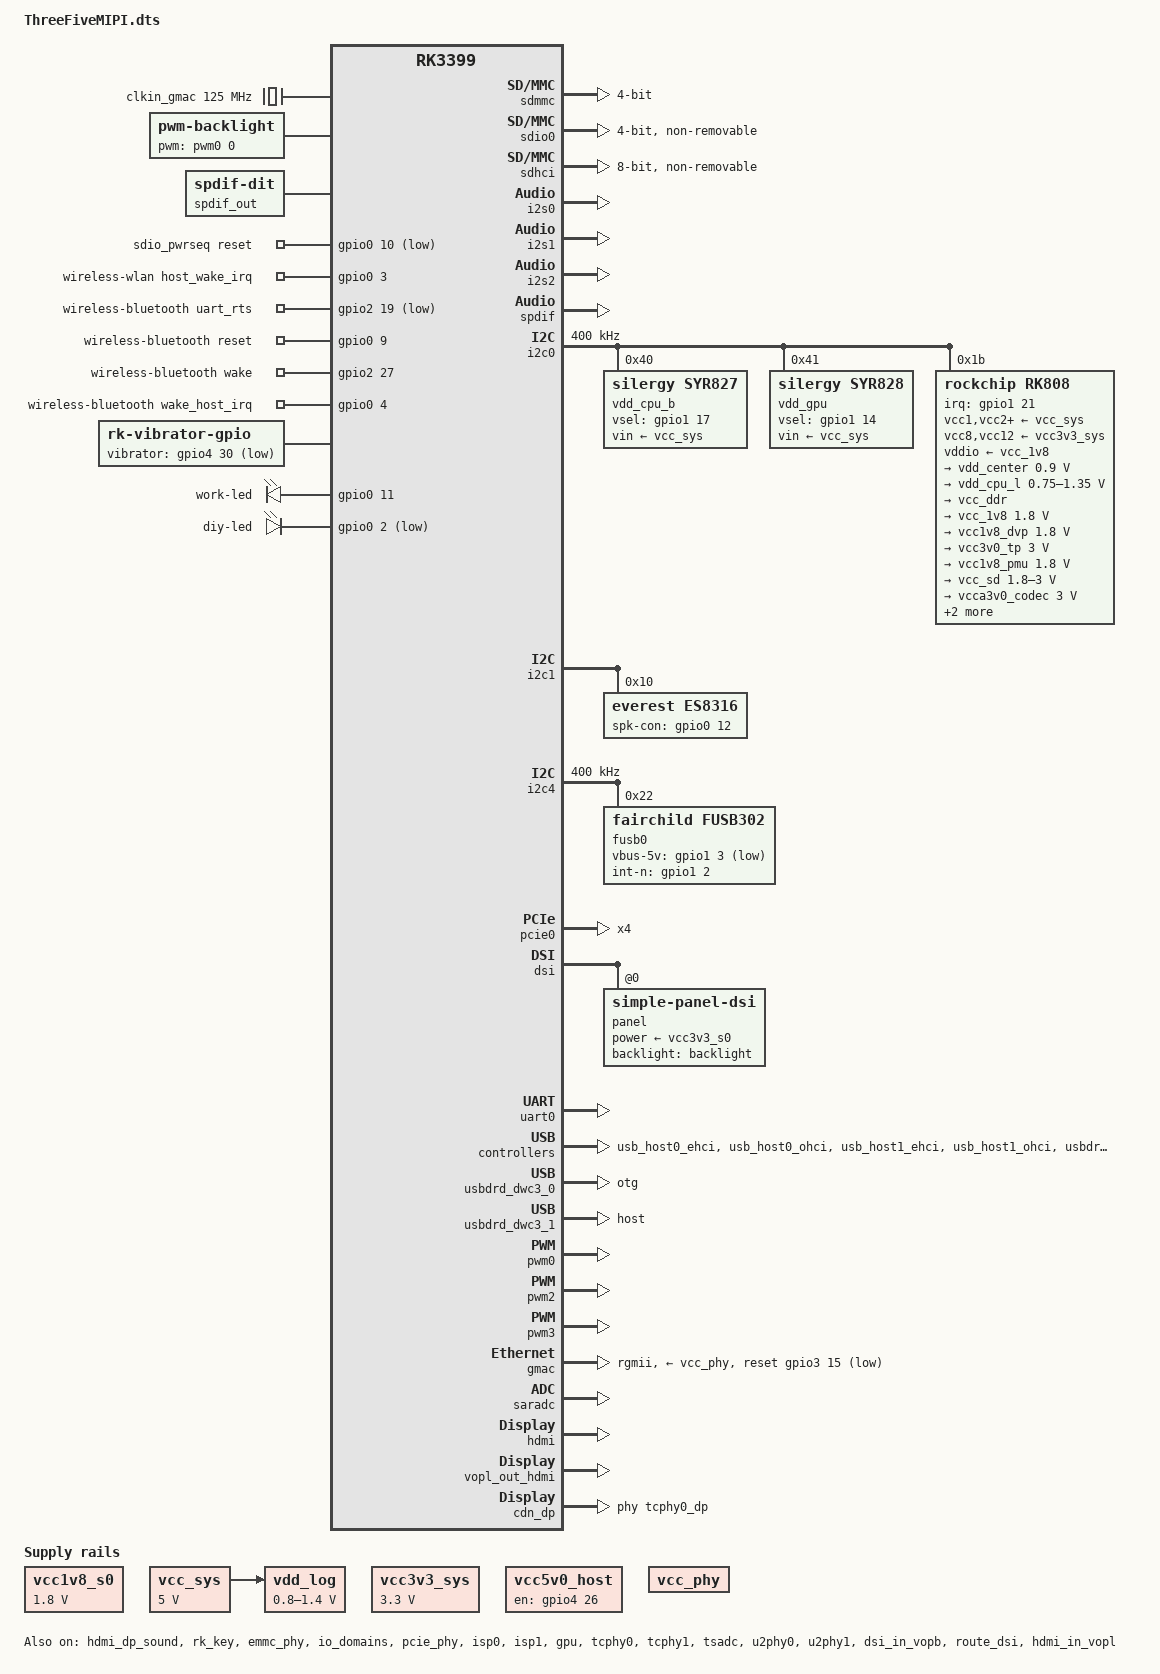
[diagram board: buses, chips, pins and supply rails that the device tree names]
/*
 * Copyright (c) 2016 Fuzhou Rockchip Electronics Co., Ltd
 *
 * This file is dual-licensed: you can use it either under the terms
 * of the GPL or the X11 license, at your option. Note that this dual
 * licensing only applies to this file, and not this project as a
 * whole.
 *
 *  a) This file is free software; you can redistribute it and/or
 *     modify it under the terms of the GNU General Public License as
 *     published by the Free Software Foundation; either version 2 of the
 *     License, or (at your option) any later version.
 *
 *     This file is distributed in the hope that it will be useful,
 *     but WITHOUT ANY WARRANTY; without even the implied warranty of
 *     MERCHANTABILITY or FITNESS FOR A PARTICULAR PURPOSE.  See the
 *     GNU General Public License for more details.
 *
 * Or, alternatively,
 *
 *  b) Permission is hereby granted, free of charge, to any person
 *     obtaining a copy of this software and associated documentation
 *     files (the "Software"), to deal in the Software without
 *     restriction, including without limitation the rights to use,
 *     copy, modify, merge, publish, distribute, sublicense, and/or
 *     sell copies of the Software, and to permit persons to whom the
 *     Software is furnished to do so, subject to the following
 *     conditions:
 *
 *     The above copyright notice and this permission notice shall be
 *     included in all copies or substantial portions of the Software.
 *
 *     THE SOFTWARE IS PROVIDED "AS IS", WITHOUT WARRANTY OF ANY KIND,
 *     EXPRESS OR IMPLIED, INCLUDING BUT NOT LIMITED TO THE WARRANTIES
 *     OF MERCHANTABILITY, FITNESS FOR A PARTICULAR PURPOSE AND
 *     NONINFRINGEMENT. IN NO EVENT SHALL THE AUTHORS OR COPYRIGHT
 *     HOLDERS BE LIABLE FOR ANY CLAIM, DAMAGES OR OTHER LIABILITY,
 *     WHETHER IN AN ACTION OF CONTRACT, TORT OR OTHERWISE, ARISING
 *     FROM, OUT OF OR IN CONNECTION WITH THE SOFTWARE OR THE USE OR
 *     OTHER DEALINGS IN THE SOFTWARE .
 */

/dts-v1/;

#include "rk3399.dtsi"
#include "rk3399-android.dtsi"
#include "rk3399-opp.dtsi"
#include <dt-bindings/sensor-dev.h>
#include <dt-bindings/pwm/pwm.h>
#include <dt-bindings/input/input.h>

/ {
	compatible = "rockchip,rk3399-mid", "rockchip,rk3399";

	vcc1v8_s0: vcc1v8-s0 {
		compatible = "regulator-fixed";
		regulator-name = "vcc1v8_s0";
		regulator-min-microvolt = <1800000>;
		regulator-max-microvolt = <1800000>;
		regulator-always-on;
	};

	hall_sensor: hall-mh248 {
		compatible = "hall-mh248";
		pinctrl-names = "default";
		//pinctrl-0 = <&mh248_irq_gpio>;
		irq-gpio = <&gpio1 2 IRQ_TYPE_EDGE_BOTH>;
		hall-active = <1>;
		status = "disabled";
	};

	vcc_sys: vcc-sys {
		compatible = "regulator-fixed";
		regulator-name = "vcc_sys";
		regulator-min-microvolt = <5000000>;
		regulator-max-microvolt = <5000000>;
		regulator-always-on;
	};

	vcc3v3_sys: vcc3v3-sys {
		compatible = "regulator-fixed";
		regulator-name = "vcc3v3_sys";
		regulator-always-on;
		regulator-boot-on;
		regulator-min-microvolt = <3300000>;
		regulator-max-microvolt = <3300000>;
	};

	vcc5v0_host: vcc5v0-host-regulator {
		compatible = "regulator-fixed";
		enable-active-high;
		gpio = <&gpio4 26 GPIO_ACTIVE_HIGH>;
		pinctrl-names = "default";
		pinctrl-0 = <&host_vbus_drv>;
		regulator-name = "vcc5v0_host";
		regulator-always-on;
	};

  	vdd_log: vdd-log {
		compatible = "pwm-regulator";
		pwms = <&pwm2 0 25000 1>;
		regulator-name = "vdd_log";
		regulator-min-microvolt = <800000>;
		regulator-max-microvolt = <1400000>;
		regulator-always-on;
		regulator-boot-on;

		/* for rockchip boot on */
		rockchip,pwm_id= <2>;
		rockchip,pwm_voltage = <900000>;

		vin-supply = <&vcc_sys>;
	};


		clkin_gmac: external-gmac-clock {
		compatible = "fixed-clock";
		clock-frequency = <125000000>;
		clock-output-names = "clkin_gmac";
		#clock-cells = <0>;
	};

	backlight: backlight {
		compatible = "pwm-backlight";
		pwms = <&pwm0 0 25000 0>;
				brightness-levels = <
			  0   1   2   3   4   5   6   7
			  8   9  10  11  12  13  14  15
			 16  17  18  19  20  21  22  23
			 24  25  26  27  28  29  30  31
			 32  33  34  35  36  37  38  39
			 40  41  42  43  44  45  46  47
			 48  49  50  51  52  53  54  55
			 56  57  58  59  60  61  62  63
			 64  65  66  67  68  69  70  71
			 72  73  74  75  76  77  78  79
			 80  81  82  83  84  85  86  87
			 88  89  90  91  92  93  94  95
			 96  97  98  99 100 101 102 103
			104 105 106 107 108 109 110 111
			112 113 114 115 116 117 118 119
			120 121 122 123 124 125 126 127
			128 129 130 131 132 133 134 135
			136 137 138 139 140 141 142 143
			144 145 146 147 148 149 150 151
			152 153 154 155 156 157 158 159
			160 161 162 163 164 165 166 167
			168 169 170 171 172 173 174 175
			176 177 178 179 180 181 182 183
			184 185 186 187 188 189 190 191
			192 193 194 195 196 197 198 199
			200 201 202 203 204 205 206 207
			208 209 210 211 212 213 214 215
			216 217 218 219 220 221 222 223
			224 225 226 227 228 229 230 231
			232 233 234 235 236 237 238 239
			240 241 242 243 244 245 246 247
			248 249 250 251 252 253 254 255>;
		default-brightness-level = <200>;
		//enable-gpios = <&gpio1 13 GPIO_ACTIVE_HIGH>;
	};

	vcc_phy: vcc-phy-regulator {
		compatible = "regulator-fixed";
		regulator-name = "vcc_phy";
		regulator-always-on;
		regulator-boot-on;
	};

es8316-sound {
	 status = "okay";
         compatible = "simple-audio-card";
         simple-audio-card,format = "i2s";
         simple-audio-card,name = "rockchip,es8316-codec";
         simple-audio-card,mclk-fs = <256>;
         simple-audio-card,widgets =
                 "Microphone", "Mic Jack",
                 "Headphone", "Headphone Jack";
         simple-audio-card,routing =
                 "Mic Jack", "MICBIAS1",
                 "IN1P", "Mic Jack",
                 "Headphone Jack", "HPOL",
                 "Headphone Jack", "HPOR";
         simple-audio-card,cpu {
                 sound-dai = <&i2s1>;
         };
         simple-audio-card,codec {
                 sound-dai = <&es8316>;
         };
 };

spdif-sound {
		status = "okay";
		compatible = "simple-audio-card";
		simple-audio-card,name = "ROCKCHIP,SPDIF";
		simple-audio-card,cpu {
			sound-dai = <&spdif>;
		};
		simple-audio-card,codec {
			sound-dai = <&spdif_out>;
		};
	};

	spdif_out: spdif-out {
		status = "okay";
		compatible = "linux,spdif-dit";
		#sound-dai-cells = <0>;
	};

	sdio_pwrseq: sdio-pwrseq {
		compatible = "mmc-pwrseq-simple";
		clocks = <&rk808 1>;
		clock-names = "ext_clock";
		pinctrl-names = "default";
		pinctrl-0 = <&wifi_enable_h>;

		/*
		 * On the module itself this is one of these (depending
		 * on the actual card populated):
		 * - SDIO_RESET_L_WL_REG_ON
		 * - PDN (power down when low)
		 */
		reset-gpios = <&gpio0 10 GPIO_ACTIVE_LOW>; /* GPIO0_B2 */
	};

	wireless-wlan {
		compatible = "wlan-platdata";
		rockchip,grf = <&grf>;
		wifi_chip_type = "ap6354";
		sdio_vref = <1800>;
		WIFI,host_wake_irq = <&gpio0 3 GPIO_ACTIVE_HIGH>; /* GPIO0_a3 */
		status = "okay";
	};

	wireless-bluetooth {
		compatible = "bluetooth-platdata";
		clocks = <&rk808 1>;
		clock-names = "ext_clock";
		//wifi-bt-power-toggle;
		uart_rts_gpios = <&gpio2 19 GPIO_ACTIVE_LOW>; /* GPIO2_C3 */
		pinctrl-names = "default", "rts_gpio";
		pinctrl-0 = <&uart0_rts>;
		pinctrl-1 = <&uart0_gpios>;
		//BT,power_gpio  = <&gpio3 19 GPIO_ACTIVE_HIGH>; /* GPIOx_xx */
		BT,reset_gpio    = <&gpio0 9 GPIO_ACTIVE_HIGH>; /* GPIO0_B1 */
		BT,wake_gpio     = <&gpio2 27 GPIO_ACTIVE_HIGH>; /* GPIO2_D2 */
		BT,wake_host_irq = <&gpio0 4 GPIO_ACTIVE_HIGH>; /* GPIO0_A4 */
		status = "okay";
	};

	uboot-charge {
		compatible = "rockchip,uboot-charge";
		rockchip,uboot-charge-on = <1>;
		rockchip,android-charge-on = <0>;
	};

	vibrator {
		compatible = "rk-vibrator-gpio";
		vibrator-gpio = <&gpio4 30 GPIO_ACTIVE_LOW>;
		status = "okay";
	};

	rk_headset {
		status = "disabled";
		compatible = "rockchip_headset";
		headset_gpio = <&gpio4 28 GPIO_ACTIVE_HIGH>;
		pinctrl-names = "default";
		//pinctrl-0 = <&hp_det>;
		io-channels = <&saradc 2>;
	};

		test-power {
		status = "okay";
	};

	leds {
		status = "okay";
		compatible = "gpio-leds";
		work-led {
                	gpios = <&gpio0 11 GPIO_ACTIVE_HIGH>;
			linux,default-trigger = "none";
                        default-state = "on";
                        mode = <0x23>;
                 };
		diy-led {
                	gpios = <&gpio0 2 GPIO_ACTIVE_LOW>;
			linux,default-trigger = "none";
                        default-state = "on";
                        mode = <0x23>;
                 };

	};


};

&hdmi_dp_sound {
	status = "okay";
};


&rk_key {
	compatible = "rockchip,key";
	status = "okay";

	io-channels = <&saradc 1>;

	/*vol-up-key {
		linux,code = <114>;
		label = "volume up";
		rockchip,adc_value = <1>;
	};

	vol-down-key {
		linux,code = <115>;
		label = "volume down";
		rockchip,adc_value = <170>;
	};*/

	power-key {
		gpios = <&gpio0 5 GPIO_ACTIVE_LOW>;
		linux,code = <116>;
		label = "power";
		gpio-key,wakeup;
	};

	/*menu-key {
		linux,code = <59>;
		label = "menu";
		rockchip,adc_value = <746>;
	};

	home-key {
		linux,code = <102>;
		label = "home";
		rockchip,adc_value = <355>;
	};

	back-key {
		linux,code = <158>;
		label = "back";
		rockchip,adc_value = <560>;
	};

	camera-key {
		linux,code = <212>;
		label = "camera";
		rockchip,adc_value = <450>;
	};*/
};

&sdmmc {
	clock-frequency = <100000000>;
	clock-freq-min-max = <100000 100000000>;
	supports-sd;
	supports-emmc;
	bus-width = <4>;
	cap-mmc-highspeed;
	cap-sd-highspeed;
	disable-wp;
	num-slots = <1>;
	//sd-uhs-sdr104;
	vqmmc-supply = <&vcc_sd>;
	pinctrl-names = "default";
	pinctrl-0 = <&sdmmc_clk &sdmmc_cmd &sdmmc_cd &sdmmc_bus4>;
	status = "okay";
};

&sdio0 {
	clock-frequency = <100000000>;
	clock-freq-min-max = <200000 100000000>;
	supports-sdio;
	bus-width = <4>;
	disable-wp;
	cap-sd-highspeed;
	cap-sdio-irq;
	keep-power-in-suspend;
	mmc-pwrseq = <&sdio_pwrseq>;
	non-removable;
	num-slots = <1>;
	pinctrl-names = "default";
	pinctrl-0 = <&sdio0_bus4 &sdio0_cmd &sdio0_clk>;
	sd-uhs-sdr104;
	status = "okay";
};

&emmc_phy {
	status = "okay";
};


&sdhci {
	bus-width = <8>;
	mmc-hs200-1_8v;
	supports-emmc;
	non-removable;
	keep-power-in-suspend;
	mmc-hs200-enhanced-strobe;
	status = "okay";
};

&i2s0 {
	status = "okay";
	rockchip,i2s-broken-burst-len;
	rockchip,playback-channels = <8>;
	rockchip,capture-channels = <8>;
	#sound-dai-cells = <0>;
};

&i2s1 {
        status = "okay";
        rockchip,i2s-broken-burst-len;
        rockchip,playback-channels = <8>;
        rockchip,capture-channels = <8>;
        #sound-dai-cells = <0>;
};


&i2s2 {
        status = "okay";
	#sound-dai-cells = <0>;
};

&spdif {
	pinctrl-0 = <&spdif_bus_1>;
	status = "okay";
	#sound-dai-cells = <0>;
};

&i2c0 {
	status = "okay";
	i2c-scl-rising-time-ns = <180>;
	i2c-scl-falling-time-ns = <30>;
	clock-frequency = <400000>;

	vdd_cpu_b: syr827@40 {
		compatible = "silergy,syr827";
		reg = <0x40>;
		regulator-compatible = "fan53555-reg";
		pinctrl-0 = <&vsel1_gpio>;
		vsel-gpios = <&gpio1 17 GPIO_ACTIVE_HIGH>;
		regulator-name = "vdd_cpu_b";
		regulator-min-microvolt = <712500>;
		regulator-max-microvolt = <1500000>;
		regulator-ramp-delay = <1000>;
		fcs,suspend-voltage-selector = <1>;
		regulator-always-on;
		regulator-boot-on;
		vin-supply = <&vcc_sys>;
		regulator-state-mem {
			regulator-off-in-suspend;
		};
	};

	vdd_gpu: syr828@41 {
		compatible = "silergy,syr828";
		reg = <0x41>;
		regulator-compatible = "fan53555-reg";
		pinctrl-0 = <&vsel2_gpio>;
		vsel-gpios = <&gpio1 14 GPIO_ACTIVE_HIGH>;
		regulator-name = "vdd_gpu";
		regulator-min-microvolt = <712500>;
		regulator-max-microvolt = <1500000>;
		regulator-ramp-delay = <1000>;
		fcs,suspend-voltage-selector = <1>;
		regulator-always-on;
		regulator-boot-on;
		vin-supply = <&vcc_sys>;
		regulator-initial-mode = <1>; /* 1:force PWM 2:auto */
		regulator-state-mem {
			regulator-off-in-suspend;
		};
	};

	rk808: pmic@1b {
		compatible = "rockchip,rk808";
		reg = <0x1b>;
		interrupt-parent = <&gpio1>;
		interrupts = <21 IRQ_TYPE_LEVEL_LOW>;
		pinctrl-names = "default";
		pinctrl-0 = <&pmic_int_l>;
		rockchip,system-power-controller;
		wakeup-source;
		#clock-cells = <1>;
		clock-output-names = "xin32k", "rk808-clkout2";

		vcc1-supply = <&vcc_sys>;
		vcc2-supply = <&vcc_sys>;
		vcc3-supply = <&vcc_sys>;
		vcc4-supply = <&vcc_sys>;
		vcc6-supply = <&vcc_sys>;
		vcc7-supply = <&vcc_sys>;
		vcc8-supply = <&vcc3v3_sys>;
		vcc9-supply = <&vcc_sys>;
		vcc10-supply = <&vcc_sys>;
		vcc11-supply = <&vcc_sys>;
		vcc12-supply = <&vcc3v3_sys>;
		vddio-supply = <&vcc_1v8>;

		regulators {
			vdd_center: DCDC_REG1 {
				regulator-name = "vdd_center";
				regulator-min-microvolt = <900000>;
				regulator-max-microvolt = <900000>;
				regulator-ramp-delay = <6001>;
				regulator-always-on;
				regulator-boot-on;
				regulator-state-mem {
					regulator-off-in-suspend;
				};
			};

			vdd_cpu_l: DCDC_REG2 {
				regulator-name = "vdd_cpu_l";
				regulator-min-microvolt = <750000>;
				regulator-max-microvolt = <1350000>;
				regulator-ramp-delay = <6001>;
				regulator-always-on;
				regulator-boot-on;
				regulator-state-mem {
					regulator-off-in-suspend;
				};
			};

			vcc_ddr: DCDC_REG3 {
				regulator-name = "vcc_ddr";
				regulator-always-on;
				regulator-boot-on;
				regulator-state-mem {
					regulator-on-in-suspend;
				};
			};

			vcc_1v8: DCDC_REG4 {
				regulator-name = "vcc_1v8";
				regulator-min-microvolt = <1800000>;
				regulator-max-microvolt = <1800000>;
				regulator-always-on;
				regulator-boot-on;
				regulator-state-mem {
					regulator-on-in-suspend;
					regulator-suspend-microvolt = <1800000>;
				};
			};

			vcc1v8_dvp: LDO_REG1 {
				regulator-name = "vcc1v8_dvp";
				regulator-min-microvolt = <1800000>;
				regulator-max-microvolt = <1800000>;
				regulator-always-on;
				regulator-boot-on;
				regulator-state-mem {
					regulator-on-in-suspend;
					regulator-suspend-microvolt = <1800000>;
				};
			};

			vcc3v0_tp: LDO_REG2 {
				regulator-name = "vcc3v0_tp";
				regulator-min-microvolt = <3000000>;
				regulator-max-microvolt = <3000000>;
				regulator-always-on;
				regulator-boot-on;
				regulator-state-mem {
					regulator-on-in-suspend;
					regulator-suspend-microvolt = <3000000>;
				};
			};

			vcc1v8_pmu: LDO_REG3 {
				regulator-name = "vcc1v8_pmu";
				regulator-min-microvolt = <1800000>;
				regulator-max-microvolt = <1800000>;
				regulator-always-on;
				regulator-boot-on;
				regulator-state-mem {
					regulator-on-in-suspend;
					regulator-suspend-microvolt = <1800000>;
				};
			};

			vcc_sd: LDO_REG4 {
				regulator-name = "vcc_sd";
				regulator-min-microvolt = <1800000>;
				regulator-max-microvolt = <3000000>;
				regulator-always-on;
				regulator-boot-on;
				regulator-state-mem {
					regulator-on-in-suspend;
					regulator-suspend-microvolt = <3000000>;
				};
			};

			vcca3v0_codec: LDO_REG5 {
				regulator-name = "vcca3v0_codec";
				regulator-min-microvolt = <3000000>;
				regulator-max-microvolt = <3000000>;
				regulator-always-on;
				regulator-boot-on;
				regulator-state-mem {
					regulator-on-in-suspend;
					regulator-suspend-microvolt = <3000000>;
				};
			};

			vcc_1v5: LDO_REG6 {
				regulator-name = "vcc_1v5";
				regulator-min-microvolt = <1500000>;
				regulator-max-microvolt = <1500000>;
				regulator-always-on;
				regulator-boot-on;
				regulator-state-mem {
					regulator-on-in-suspend;
					regulator-suspend-microvolt = <1500000>;
				};
			};

			vcca1v8_codec: LDO_REG7 {
				regulator-name = "vcca1v8_codec";
				regulator-min-microvolt = <1800000>;
				regulator-max-microvolt = <1800000>;
				regulator-always-on;
				regulator-boot-on;
				regulator-state-mem {
					regulator-on-in-suspend;
					regulator-suspend-microvolt = <1800000>;
				};
			};

			vcc_3v0: LDO_REG8 {
				regulator-name = "vcc_3v0";
				regulator-min-microvolt = <3000000>;
				regulator-max-microvolt = <3000000>;
				regulator-always-on;
				regulator-boot-on;
				regulator-state-mem {
					regulator-on-in-suspend;
					regulator-suspend-microvolt = <3000000>;
				};
			};

			vcc3v3_s3: SWITCH_REG1 {
				regulator-name = "vcc3v3_s3";
				regulator-always-on;
				regulator-boot-on;
				regulator-state-mem {
					regulator-on-in-suspend;
				};
			};

			vcc3v3_s0: SWITCH_REG2 {
				regulator-name = "vcc3v3_s0";
				regulator-always-on;
				regulator-boot-on;
				regulator-state-mem {
					regulator-on-in-suspend;
				};
			};
		};
	};
};

&i2c1 {
	status = "okay";
	i2c-scl-rising-time-ns = <168>;
	i2c-scl-falling-time-ns = <4>;

        es8316: es8316@10 {
                #sound-dai-cells = <0>;
                compatible = "everest,es8316";
                reg = <0x10>;
                clocks = <&cru SCLK_I2S_8CH_OUT>;
                clock-names = "mclk";
                pinctrl-names = "default";
                pinctrl-0 = <&i2s_8ch_mclk>;
                spk-con-gpio = <&gpio0 12 GPIO_ACTIVE_HIGH>;
                //hp-det-gpio = <&gpio4 28 GPIO_ACTIVE_LOW>;
        };

};

&i2c4 {
	status = "okay";
	i2c-scl-rising-time-ns = <345>;
	i2c-scl-falling-time-ns = <11>;
	clock-frequency = <400000>;

	lsm330_accel@1e {
		status = "disabled";
		compatible = "lsm330_acc";
		pinctrl-names = "default";
		//pinctrl-0 = <&lsm330a_irq_gpio>;
		reg = <0x1e>;
		irq-gpio = <&gpio2 27 IRQ_TYPE_EDGE_RISING>;
		type = <SENSOR_TYPE_ACCEL>;
		irq_enable = <1>;
		poll_delay_ms = <30>;
		power-off-in-suspend = <1>;
		layout = <4>;
	};

	lsm330_gyro@6a {
		status = "disabled";
		compatible = "lsm330_gyro";
		pinctrl-names = "default";
		//pinctrl-0 = <&lsm330g_irq_gpio>;
		reg = <0x6a>;
		irq-gpio = <&gpio1 20 IRQ_TYPE_EDGE_RISING>;
		type = <SENSOR_TYPE_GYROSCOPE>;
		irq_enable = <0>;
		power-off-in-suspend = <1>;
		poll_delay_ms = <30>;
	};

	mpu6500@68 {
		status = "disabled";
		compatible = "invensense,mpu6500";
		pinctrl-names = "default";
		//pinctrl-0 = <&mpu6500_irq_gpio>;
		reg = <0x68>;
		irq-gpio = <&gpio2 27 IRQ_TYPE_EDGE_RISING>;
		mpu-int_config = <0x10>;
		mpu-level_shifter = <0>;
		mpu-orientation = <1 0 0 0 1 0 0 0 1>;
		orientation-x= <1>;
		orientation-y= <1>;
		orientation-z= <0>;
		support-hw-poweroff = <1>;
		mpu-debug = <1>;
	};

	sensor@0d {
		status = "disabled";
		compatible = "ak8963";
		pinctrl-names = "default";
		//pinctrl-0 = <&ak8963_irq_gpio>;
		reg = <0x0d>;
		type = <SENSOR_TYPE_COMPASS>;
		irq-gpio = <&gpio2 28 IRQ_TYPE_EDGE_RISING>;
		irq_enable = <0>;
		poll_delay_ms = <30>;
		layout = <3>;
	};

	sensor@10 {
		status = "disabled";
		compatible = "capella,light_cm3218";
		pinctrl-names = "default";
		//pinctrl-0 = <&cm3218_irq_gpio>;
		reg = <0x10>;
		type = <SENSOR_TYPE_LIGHT>;
		irq-gpio = <&gpio4 24 IRQ_TYPE_EDGE_FALLING>;
		irq_enable = <1>;
		poll_delay_ms = <30>;
	};

	fusb0: fusb30x@22 {
		compatible = "fairchild,fusb302";
		reg = <0x22>;
		pinctrl-names = "default";
		pinctrl-0 = <&fusb0_int>;
		vbus-5v-gpios = <&gpio1 3 GPIO_ACTIVE_LOW>;
		int-n-gpios = <&gpio1 2 GPIO_ACTIVE_HIGH>;
		status = "okay";
	};

	hy46xx_ts: hy46xx_ts@38 {
                compatible = "hycon,hy46xx_ts";
                reg = <0x38>;
                touch-gpio = <&gpio4 29 IRQ_TYPE_LEVEL_LOW>;
                reset-gpio = <&gpio4 30 GPIO_ACTIVE_HIGH>;
                tp-supply = <&vcc3v0_tp>;
                status = "disabled";
        };
};

&i2c5 {
	status = "disabled";
	i2c-scl-rising-time-ns = <150>;
	i2c-scl-falling-time-ns = <30>;
	clock-frequency = <400000>;
};

&io_domains {
	status = "okay";

	bt656-supply = <&vcc1v8_s0>;
	audio-supply = <&vcc_3v0>;
	sdmmc-supply = <&vcc_sd>;
	gpio1830-supply = <&vcc_3v0>;
};

&pcie_phy {
            status = "okay";
};
&pcie0 {
						assigned-clocks = <&cru SCLK_PCIEPHY_REF>;
						assigned-clock-parents = <&cru SCLK_PCIEPHY_REF100M>;
						assigned-clock-rates = <100000000>;
            ep-gpios = <&gpio1 24 GPIO_ACTIVE_HIGH>;
            num-lanes = <4>;
            pinctrl-names = "default";
            pinctrl-0 = <&pcie_clkreqn>;
            status = "okay";
};

&isp0 {
	status = "okay";
};

&isp1 {
	status = "okay";
};

&isp0_mmu {
	status = "okay";
};

&isp1_mmu {
	status = "okay";
};

&cpu_l0 {
	cpu-supply = <&vdd_cpu_l>;
};

&cpu_l1 {
	cpu-supply = <&vdd_cpu_l>;
};

&cpu_l2 {
	cpu-supply = <&vdd_cpu_l>;
};

&cpu_l3 {
	cpu-supply = <&vdd_cpu_l>;
};

&cpu_b0 {
	cpu-supply = <&vdd_cpu_b>;
};

&cpu_b1 {
	cpu-supply = <&vdd_cpu_b>;
};

&gpu {
	status = "okay";
	mali-supply = <&vdd_gpu>;
};

&spi1 {
	status = "disabled";
	max-freq = <50000000>;
	mpu6500@0 {
		status = "disabled";
		compatible = "inv-spi,mpu6500";
		pinctrl-names = "default";
		//pinctrl-0 = <&mpu6500_irq_gpio>;
		irq-gpio = <&gpio2 27 IRQ_TYPE_EDGE_RISING>;
		reg = <0>;
		spi-max-frequency = <1000000>;
		spi-cpha;
		spi-cpol;
		mpu-int_config = <0x00>;
		mpu-level_shifter = <0>;
		mpu-orientation = <1 0 0 0 1 0 0 0 1>;
		orientation-x= <1>;
		orientation-y= <0>;
		orientation-z= <1>;
		support-hw-poweroff = <1>;
		mpu-debug = <1>;
	};
};


&dsi {
	status = "okay";
  rockchip,lane-rate = <550>;

	panel@0 {
		compatible ="simple-panel-dsi";
		reg = <0>;
		backlight = <&backlight>;
		power-supply = <&vcc3v3_s0>;
		//enable-gpios = <&gpio1 13 GPIO_ACTIVE_HIGH>;

		dsi,flags = <(MIPI_DSI_MODE_VIDEO | MIPI_DSI_MODE_VIDEO_BURST)>;
		dsi,format = <MIPI_DSI_FMT_RGB888>;
		dsi,lanes = <4>;

		delay,enable = <200>;

		prepare-delay-ms=<200>;

		panel-init-sequence = [

            39 7F 04 FF 98 81 00  // Set to Page 0 Command
	    05 FE 01 01           // Software Reset
	    39 7F 04 FF 98 81 00  // Set to Page 0 Command	    
	    05 7F 01 11           // Sleep Out
	    05 7F 01 29           // Set Display On 
           // 05 7F 01 23           // Set All Pixels On
        ];

		display-timings {
			native-mode = <&timing0>;

			timing0: timing0 {
				clock-frequency = <70000000>;
				hactive = <800>;
				vactive = <1280>;
				hback-porch = <5>;
				hfront-porch = <273>;
				vback-porch = <20>;
				vfront-porch = <20>;
				hsync-len = <2>;
				vsync-len = <2>;
				hsync-active = <0>;
				vsync-active = <0>;
				de-active = <1>;
				pixelclk-active = <0>;
			};
		};

	};
};

&tcphy0 {
	extcon = <&fusb0>;
	status = "okay";
};

&tcphy1 {
	status = "okay";
};

&tsadc {
	rockchip,hw-tshut-mode = <1>; /* tshut mode 0:CRU 1:GPIO */
	rockchip,hw-tshut-polarity = <1>; /* tshut polarity 0:LOW 1:HIGH */
	status = "okay";
};

&u2phy0 {
	status = "okay";
	extcon = <&fusb0>;

	u2phy0_otg: otg-port {
		status = "okay";
	};

	u2phy0_host: host-port {
		phy-supply = <&vcc5v0_host>;
		status = "okay";
	};
};

&u2phy1 {
	status = "okay";

	u2phy1_otg: otg-port {
		status = "okay";
	};

	u2phy1_host: host-port {
		phy-supply = <&vcc5v0_host>;
		status = "okay";
	};
};

&uart0 {
	pinctrl-names = "default";
	pinctrl-0 = <&uart0_xfer &uart0_cts>;
	status = "okay";
};

&uart2 {
	status = "disabled";
};

&usb_host0_ehci {
	status = "okay";
};

&usb_host0_ohci {
	status = "okay";
};

&usb_host1_ehci {
	status = "okay";
};

&usb_host1_ohci {
	status = "okay";
};

&usbdrd3_0 {
	extcon = <&fusb0>;
	status = "okay";
};

&usbdrd_dwc3_0 {
	dr_mode = "otg";
	status = "okay";
};

&usbdrd3_1 {
	status = "okay";
};

&usbdrd_dwc3_1 {
	dr_mode = "host";
	status = "okay";
};

&pwm0 {
	status = "okay";
};

&backlight {
       status = "okay";
};

&dsi_in_vopl {
       status = "disabled";
};

&dsi_in_vopb {
       status = "okay";
};

&pwm2 {
	status = "okay";
};

&pwm3 {
	status = "okay";

	interrupts = <GIC_SPI 61 IRQ_TYPE_LEVEL_HIGH 0>;
	compatible = "rockchip,remotectl-pwm";
	remote_pwm_id = <3>;
	handle_cpu_id = <1>;
	remote_support_psci = <1>;

	        ir_key1 {
                rockchip,usercode = <0x4040>;
                rockchip,key_table =
                        <0xf2   KEY_REPLY>,
                        <0xba   KEY_BACK>,
                        <0xf4   KEY_UP>,
                        <0xf1   KEY_DOWN>,
                        <0xef   KEY_LEFT>,
                        <0xee   KEY_RIGHT>,
                        <0xe5   KEY_HOME>,
                        <0xe7   KEY_VOLUMEUP>,
                        <0xe8   KEY_VOLUMEDOWN>,
                        <0xb2   KEY_POWER>,
                        <0xf5   KEY_MUTE>,
                        <0xe2   KEY_MENU>,
                        <0xf3   KEY_DELETE>,

                        <0xff   KEY_0>,
                        <0xfe   KEY_1>,
                        <0xfd   KEY_2>,
                        <0xfc   KEY_3>,
                        <0xfb   KEY_4>,
                        <0xfa   KEY_5>,
                        <0xf9   KEY_6>,
                        <0xf8   KEY_7>,
                        <0xf7   KEY_8>,
                        <0xf6   KEY_9>,
                        <0xb8   388>,
                        <0xe0   KEY_SEARCH>;
        };

};

&gmac {
	phy-supply = <&vcc_phy>;
	phy-mode = "rgmii";
	clock_in_out = "input";
	snps,reset-gpio = <&gpio3 15 GPIO_ACTIVE_LOW>;
	snps,reset-active-low;
	snps,reset-delays-us = <0 10000 50000>;
	assigned-clocks = <&cru SCLK_RMII_SRC>;
	assigned-clock-parents = <&clkin_gmac>;
	pinctrl-names = "default", "sleep";
	pinctrl-0 = <&rgmii_pins>;
	pinctrl-1 = <&rgmii_sleep_pins>;
	tx_delay = <0x21>;
	rx_delay = <0x1E>;
	status = "okay";
};

&saradc {
	status = "okay";
};

&rockchip_suspend {
	status = "okay";
	rockchip,sleep-debug-en = <1>;
	rockchip,sleep-mode-config = <
		(0
		| RKPM_SLP_ARMPD
		| RKPM_SLP_PERILPPD
		| RKPM_SLP_DDR_RET
		| RKPM_SLP_PLLPD
		| RKPM_SLP_CENTER_PD
		| RKPM_SLP_OSC_DIS
		| RKPM_SLP_AP_PWROFF
		)
	>;
	rockchip,wakeup-config = <
		(0
		| RKPM_GPIO_WKUP_EN
		| RKPM_PWM_WKUP_EN
		)
	>;
	rockchip,pwm-regulator-config = <
		(0
		| PWM2_REGULATOR_EN
		)
	>;
	rockchip,power-ctrl =
		<&gpio1 17 GPIO_ACTIVE_HIGH>,
		<&gpio1 14 GPIO_ACTIVE_HIGH>;
};

&pinctrl {
	sdio-pwrseq {
		wifi_enable_h: wifi-enable-h {
			rockchip,pins =
				<0 10 RK_FUNC_GPIO &pcfg_pull_none>;
		};
	};

	wireless-bluetooth {
		uart0_gpios: uart0-gpios {
			rockchip,pins =
				<2 19 RK_FUNC_GPIO &pcfg_pull_none>;
		};
	};

	usb2 {
		host_vbus_drv: host-vbus-drv {
			rockchip,pins =
				<4 26 RK_FUNC_GPIO &pcfg_pull_none>;
		};
	};

	pmic {
		pmic_int_l: pmic-int-l {
			rockchip,pins =
				<1 21 RK_FUNC_GPIO &pcfg_pull_up>;
		};

		vsel1_gpio: vsel1-gpio {
			rockchip,pins =
				<1 17 RK_FUNC_GPIO &pcfg_pull_down>;
		};

		vsel2_gpio: vsel2-gpio {
			rockchip,pins =
				<1 14 RK_FUNC_GPIO &pcfg_pull_down>;
		};
	};

	gmac {
		rgmii_sleep_pins: rgmii-sleep-pins {
			rockchip,pins =
				<3 15 RK_FUNC_GPIO &pcfg_output_low>;
		};
	};

		fusb30x {
		fusb0_int: fusb0-int {
			rockchip,pins =
				<1 2 RK_FUNC_GPIO &pcfg_pull_up>;
		};
	};
};

&route_dsi {
	status = "okay";
};

&edp_in_vopl {
	status = "disabled";
};

&hdmi {
	status = "okay";
};

&vopl_out_hdmi {
	status = "okay";
};
&hdmi_in_vopb {
	status = "disabled";
};
&hdmi_in_vopl{
	status = "okay";
};

&cdn_dp {
	status = "okay";
	extcon = <&fusb0>;
	phys = <&tcphy0_dp>;
};

&dp_in_vopb {
	status = "disabled";
};

&pmu_io_domains {
	status = "okay";
	pmu1830-supply = <&vcc_3v0>;
};
